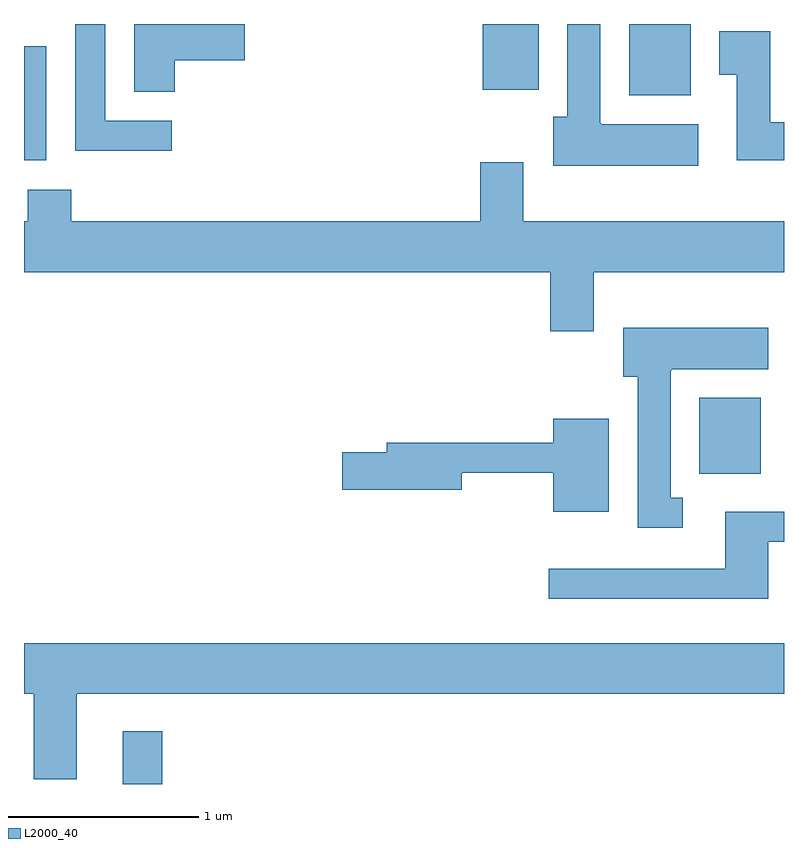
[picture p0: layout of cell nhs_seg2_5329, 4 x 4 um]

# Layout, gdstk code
import gdstk
lib = gdstk.Library(unit=1e-6, precision=1e-09)
def R(c, l, rs):  # rectangles x0, y0, x1, y1
    for r in rs: c.add(gdstk.rectangle(r[:2], r[2:], *l))
def P(c, l, *ps):  # polygons
    for p in ps: c.add(gdstk.Polygon(p, *l))
L2000_40 = (2000, 40)

nhs_seg2_5329 = lib.new_cell('nhs_seg2_5329')
R(nhs_seg2_5329, L2000_40, [(342.131,1087.802,342.339,1088.079), (345.166,1089.436,345.489,1089.834), (341.611,1091.086,341.729,1091.684), (344.796,1091.426,345.119,1091.802), (344.026,1091.456,344.319,1091.802)])
P(nhs_seg2_5329, L2000_40, [(342.404,1091.611),(342.774,1091.611),(342.774,1091.802),(342.191,1091.802),(342.191,1091.446),(342.404,1091.446)],
  [(342.388,1091.294),(342.039,1091.294),(342.039,1091.802),(341.881,1091.802),(341.881,1091.136),(342.388,1091.136)],
  [(345.159,1091.274),(344.65,1091.274),(344.65,1091.28),(344.644,1091.28),(344.644,1091.802),(344.471,1091.802),(344.471,1091.314),(344.396,1091.314),(344.396,1091.056),(345.159,1091.056)],
  [(345.611,1091.284),(345.539,1091.284),(345.539,1091.764),(345.271,1091.764),(345.271,1091.536),(345.361,1091.536),(345.361,1091.086),(345.611,1091.086)],
  [(344.609,1090.496),(345.611,1090.496),(345.611,1090.764),(344.239,1090.764),(344.239,1091.074),(344.011,1091.074),(344.011,1090.764),(341.859,1090.764),(341.859,1090.929),(341.631,1090.929),(341.631,1090.764),(341.611,1090.764),(341.611,1090.496),(344.381,1090.496),(344.381,1090.186),(344.609,1090.186)],
  [(345.078,1089.309),(345.014,1089.309),(345.014,1089.98),(345.02,1089.98),(345.02,1089.986),(345.529,1089.986),(345.529,1090.204),(344.766,1090.204),(344.766,1089.946),(344.841,1089.946),(344.841,1089.151),(345.078,1089.151)],
  [(344.689,1089.724),(344.396,1089.724),(344.396,1089.599),(343.521,1089.599),(343.521,1089.549),(343.286,1089.549),(343.286,1089.351),(343.914,1089.351),(343.914,1089.441),(344.396,1089.441),(344.396,1089.236),(344.689,1089.236)],
  [(345.529,1089.076),(345.611,1089.076),(345.611,1089.234),(345.301,1089.234),(345.301,1088.934),(344.373,1088.934),(344.373,1088.776),(345.529,1088.776)],
  [(341.889,1088.276),(345.611,1088.276),(345.611,1088.544),(341.611,1088.544),(341.611,1088.276),(341.661,1088.276),(341.661,1087.826),(341.889,1087.826)])

lib.write_gds('nhs_seg2_5329.gds')
